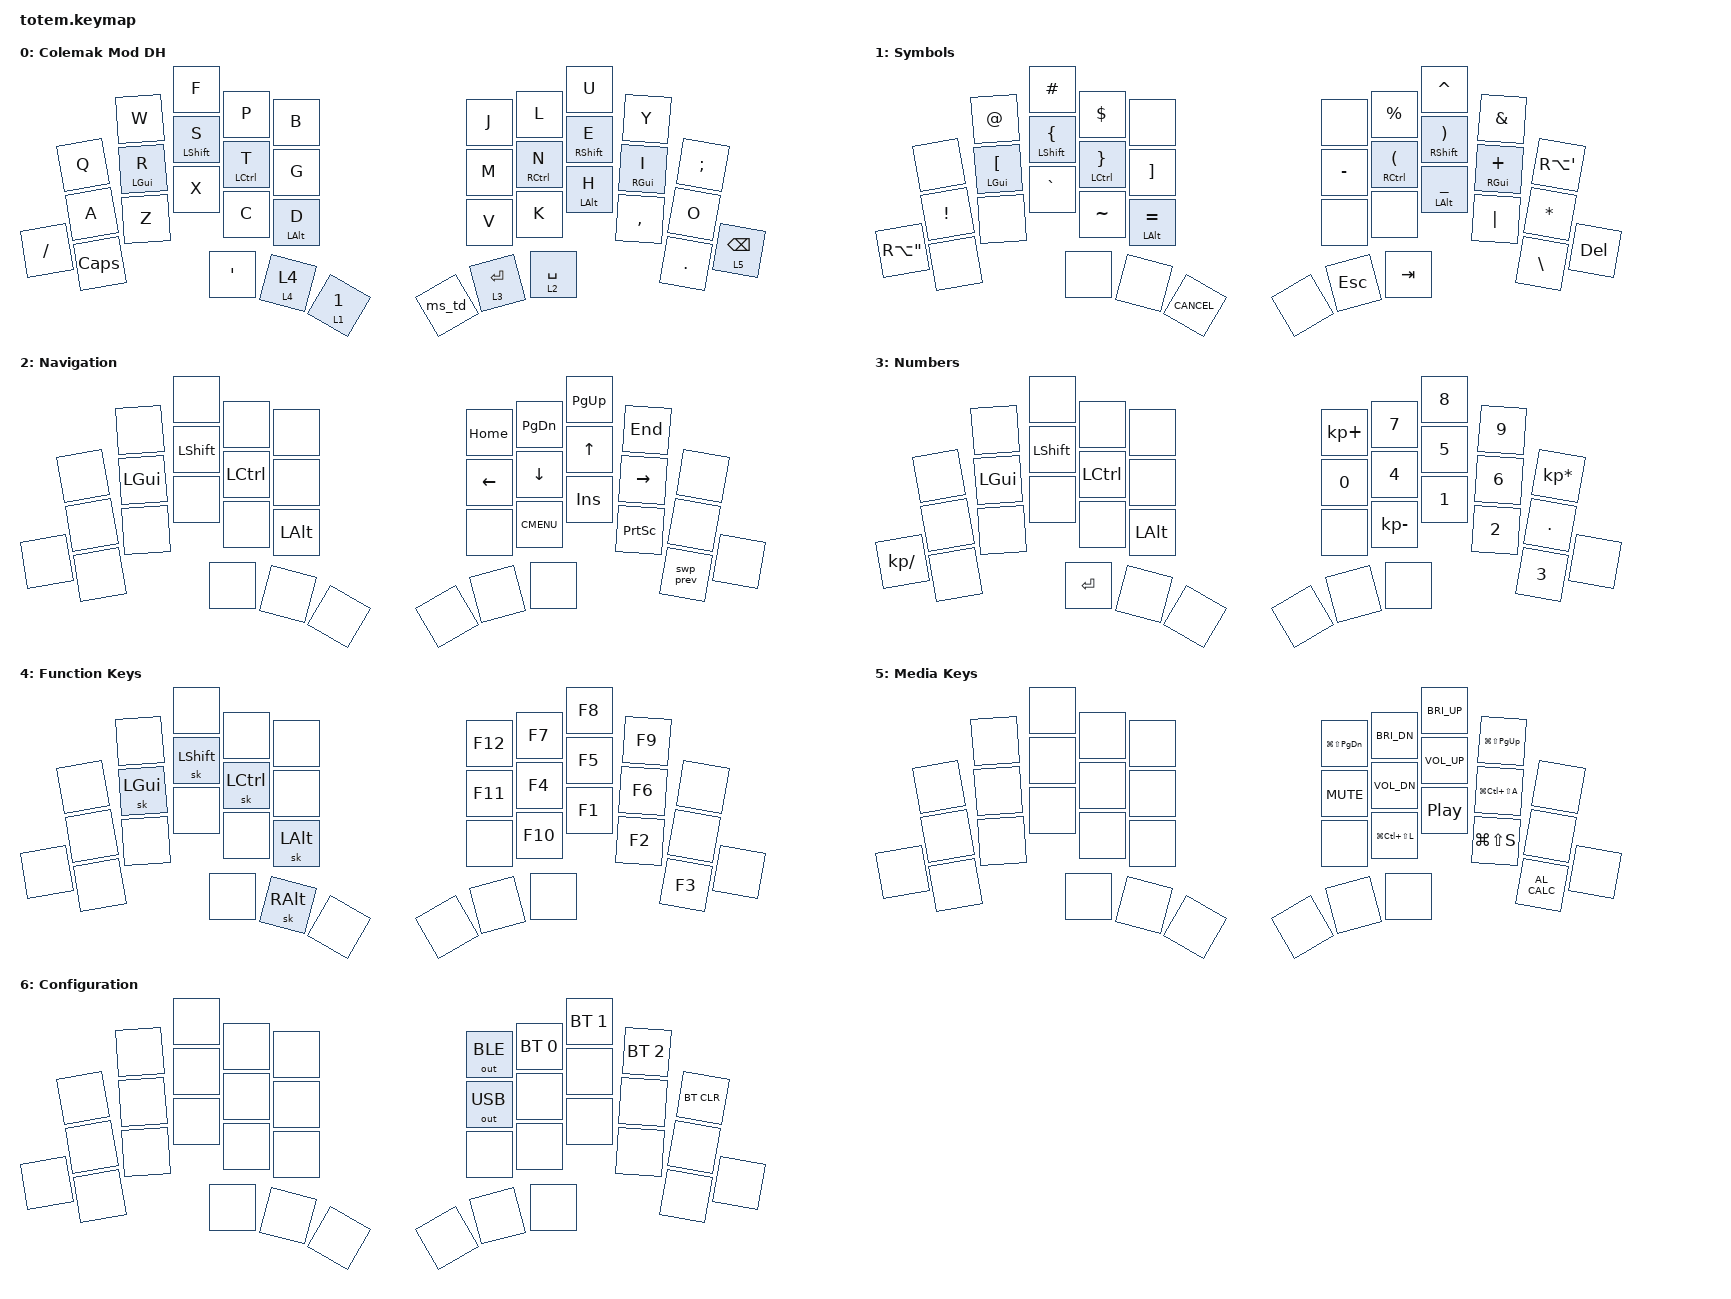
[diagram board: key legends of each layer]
#include <behaviors.dtsi>
#include <dt-bindings/zmk/bt.h>
#include <dt-bindings/zmk/keys.h>
#include <dt-bindings/zmk/outputs.h>

#include <behaviors/rgbled_widget.dtsi>

#define HT_TAPPING_TERM_MS 250
#define QUICK_TAP_MS 200
#define REQUIRE_PRIOR_IDLE_MS 150

&caps_word { continue-list = <UNDERSCORE DOT BACKSPACE DELETE>; };

/ {
    behaviors {

        q_sk: quick_release_sticky_key {
            compatible = "zmk,behavior-sticky-key";
            display-name = "Quick Release Sticky Key";
            #binding-cells = <1>;
            bindings = <&kp>;

            release-after-ms = <1000>;
            quick-release;
            ignore-modifiers;
        };

        n_sl: normal_release_sticky_layer {
            compatible = "zmk,behavior-sticky-key";
            display-name = "Normal Release Sticky Layer";
            #binding-cells = <1>;
            bindings = <&mo>;

            release-after-ms = <1000>;
        };

        swp_prev: window_swapper_previous {
            compatible = "zmk,behavior-tri-state";
            display-name = "Window Swapper Previous";
            #binding-cells = <0>;
            bindings = <&kt LALT>, <&kp TAB>, <&kt LALT>;
            ignored-key-positions = <15 16 17 18>;
        };

        ms_td: magic_shift_tap_dance {
            compatible = "zmk,behavior-tap-dance";
            #binding-cells = <0>;
            tapping-term-ms = <250>;
            bindings = <&q_sk LSHFT>, <&caps_word>;
        };

        lhm_ht: left_homerow_mod_hold_tap {
            compatible = "zmk,behavior-hold-tap";
            display-name = "Left Homerow Mod Hold/Tap";
            #binding-cells = <2>;
            bindings = <&kp>, <&kp>;

            flavor = "balanced";
            tapping-term-ms = <HT_TAPPING_TERM_MS>;
            quick-tap-ms = <QUICK_TAP_MS>;
            require-prior-idle-ms = <REQUIRE_PRIOR_IDLE_MS>;
            hold-trigger-key-positions = <5 6 7 8 9 15 16 17 18 19 26 27 28 29 30 31 35 36 37>;
            hold-trigger-on-release;
        };

        rhm_ht: right_homerow_mod_hold_tap {
            compatible = "zmk,behavior-hold-tap";
            display-name = "Right Homerow Mod Hold/Tap";
            #binding-cells = <2>;
            bindings = <&kp>, <&kp>;

            flavor = "balanced";
            tapping-term-ms = <HT_TAPPING_TERM_MS>;
            quick-tap-ms = <QUICK_TAP_MS>;
            require-prior-idle-ms = <REQUIRE_PRIOR_IDLE_MS>;
            hold-trigger-key-positions = <0 1 2 3 4 10 11 12 13 14 20 21 22 23 24 25 32 33 34>;
            hold-trigger-on-release;
        };

        lk_ht: layer_key_hold_tap {
            compatible = "zmk,behavior-hold-tap";
            display-name = "Layer/Key Hold/Tap";
            #binding-cells = <2>;
            bindings = <&mo>, <&kp>;

            flavor = "balanced";
            tapping-term-ms = <HT_TAPPING_TERM_MS>;
            quick-tap-ms = <QUICK_TAP_MS>;
        };

        lkh_ht: layer_key_hold_preferred_hold_tap {
            compatible = "zmk,behavior-hold-tap";
            display-name = "Layer/Key Hold-Preferred Hold/Tap";
            #binding-cells = <2>;
            bindings = <&mo>, <&kp>;

            flavor = "hold-preferred";
            tapping-term-ms = <HT_TAPPING_TERM_MS>;
        };

        lsln_ht: layer_sticky_layer_normal_release_hold_tap {
            compatible = "zmk,behavior-hold-tap";
            display-name = "Layer/Sticky Layer Normal Release Hold/Tap";
            #binding-cells = <2>;
            bindings = <&mo>, <&n_sl>;

            flavor = "balanced";
            tapping-term-ms = <HT_TAPPING_TERM_MS>;
        };

        lsl_ht: layer_sticky_layer_quick_release_hold_tap {
            compatible = "zmk,behavior-hold-tap";
            display-name = "Layer/Sticky Layer Quick Release Hold/Tap";
            #binding-cells = <2>;
            bindings = <&mo>, <&sl>;

            flavor = "balanced";
            tapping-term-ms = <HT_TAPPING_TERM_MS>;
        };
    };

    combos {
        compatible = "zmk,combos";

        combo_esc {
            bindings = <&kp ESC>;
            key-positions = <0 1>;
            layers = <0>;
        };

        combo_bspace {
            bindings = <&kp BSPC>;
            key-positions = <1 2>;
            layers = <0>;
        };

        combo_del {
            bindings = <&kp DEL>;
            key-positions = <2 3>;
            layers = <0>;
        };

        combo_ret {
            bindings = <&kp RET>;
            key-positions = <3 4>;
            layers = <0>;
        };

        combo_space {
            bindings = <&kp SPACE>;
            key-positions = <10 11>;
            layers = <0>;
        };

        combo_tab {
            bindings = <&kp TAB>;
            key-positions = <13 14>;
            layers = <0>;
        };

        combo_conf_layer {
            bindings = <&sl 6>;
            key-positions = <6 7 8>;
            layers = <0>;
        };

        combo_rgbled_widget_bat {
            bindings = <&ind_bat>;
            key-positions = <16 17 18>;
            layers = <0>;
        };

        combo_rgbled_widget_con {
            bindings = <&ind_con>;
            key-positions = <27 28 29>;
            layers = <0>;
        };
    };

    keymap {
        compatible = "zmk,keymap";

        // layer 0
        default_layer {
            display-name = "Colemak Mod DH";
            bindings = <
          &kp Q  &kp          W  &kp           F  &kp           P  &kp   B        &kp         J  &kp           L  &kp           U  &kp          Y  &kp SEMI
          &kp A  &lhm_ht LGUI R  &lhm_ht LSHFT S  &lhm_ht LCTRL T  &kp   G        &kp         M  &rhm_ht RCTRL N  &rhm_ht RSHFT E  &rhm_ht RGUI I  &kp    O
&kp CAPS  &kp Z  &kp          X  &kp           C  &lhm_ht LALT  D  &kp   V        &kp         K  &rhm_ht LALT  H  &kp       COMMA  &kp        DOT  &kp FSLH  &kp SQT
                                 &lsl_ht     4 4  &lsln_ht    1 1  &ms_td         &lkh_ht 3 RET  &lk_ht  2 SPACE  &lk_ht   5 BSPC
            >;
        };

        // layer 1
        symbols {
            display-name = "Symbols";
            bindings = <
       &none     &kp            AT  &kp           HASH  &kp           DLLR  &none           &none      &kp          PRCNT  &kp          CARET  &kp          AMPS  &kp RA(SQT)
       &kp EXCL  &lhm_ht LGUI LBKT  &lhm_ht LSHFT LBRC  &lhm_ht LCTRL RBRC  &kp RBKT        &kp MINUS  &rhm_ht RCTRL LPAR  &rhm_ht RSHFT RPAR  &rhm_ht RGUI PLUS  &kp STAR
&none  &none     &kp         GRAVE  &kp          TILDE  &lhm_ht LALT EQUAL  &none           &none      &rhm_ht LALT UNDER  &kp           PIPE  &kp          BSLH  &kp RA(DQT)  &none
                                    &none               &kp       K_CANCEL  &none           &kp   ESC  &kp            TAB  &kp            DEL
            >;
        };

        // layer 2
        navigation {
            display-name = "Navigation";
            bindings = <
       &none  &none     &none      &none      &none        &kp HOME     &kp PG_DN  &kp PG_UP  &kp END    &none
       &none  &kp LGUI  &kp LSHFT  &kp LCTRL  &none        &kp LEFT     &kp DOWN   &kp UP     &kp RIGHT  &none
&none  &none  &none     &none      &kp LALT   &none        &kp K_CMENU  &kp INS    &kp PSCRN  &swp_prev  &none  &none
                        &none      &none      &none        &none        &none      &none
            >;
        };

        // layer 3
        numbers {
            display-name = "Numbers";
            bindings = <
       &none  &none     &none      &none      &none        &kp KP_PLUS   &kp N7  &kp N8  &kp N9  &kp KP_MULTIPLY
       &none  &kp LGUI  &kp LSHFT  &kp LCTRL  &none        &kp N0        &kp N4  &kp N5  &kp N6  &kp DOT
&none  &none  &none     &none      &kp LALT   &none        &kp KP_MINUS  &kp N1  &kp N2  &kp N3  &kp KP_DIVIDE    &kp RET
                        &none      &none      &none        &none         &none   &none
            >;
        };

        // layer 4
        function {
            display-name = "Function Keys";
            bindings = <
       &none  &none     &none      &none      &none        &kp F12   &kp F7  &kp F8  &kp F9  &none
       &none  &sk LGUI  &sk LSHFT  &sk LCTRL  &none        &kp F11   &kp F4  &kp F5  &kp F6  &none
&none  &none  &none     &none      &sk LALT   &none        &kp F10   &kp F1  &kp F2  &kp F3  &none  &none
                        &sk RALT   &none      &none        &none     &none   &none
            >;
        };

        // layer 5
        media {
            display-name = "Media Keys";
            bindings = <
       &none  &none  &none  &none  &none        &kp LG(LS(PG_DN))  &kp C_BRI_DN      &kp C_BRI_UP  &kp LG(LS(PG_UP))  &none
       &none  &none  &none  &none  &none        &kp C_MUTE         &kp C_VOL_DN      &kp C_VOL_UP  &kp LG(LC(LS(A)))  &none
&none  &none  &none  &none  &none  &none        &kp LG(LC(LS(L)))  &kp C_PLAY_PAUSE  &kp LG(LS(S)) &kp C_AL_CALC      &none  &none
                     &none  &none  &none        &none              &none             &none
            >;
        };

        // layer 6
        config {
            display-name = "Configuration";
            bindings = <
       &none  &none  &none  &none  &none        &out OUT_BLE  &bt BT_SEL 0  &bt BT_SEL 1  &bt BT_SEL 2  &bt BT_CLR
       &none  &none  &none  &none  &none        &out OUT_USB  &none         &none         &none         &none
&none  &none  &none  &none  &none  &none        &none         &none         &none         &none         &none       &none
                     &none  &none  &none        &none         &none         &none
            >;
        };
    };
};
